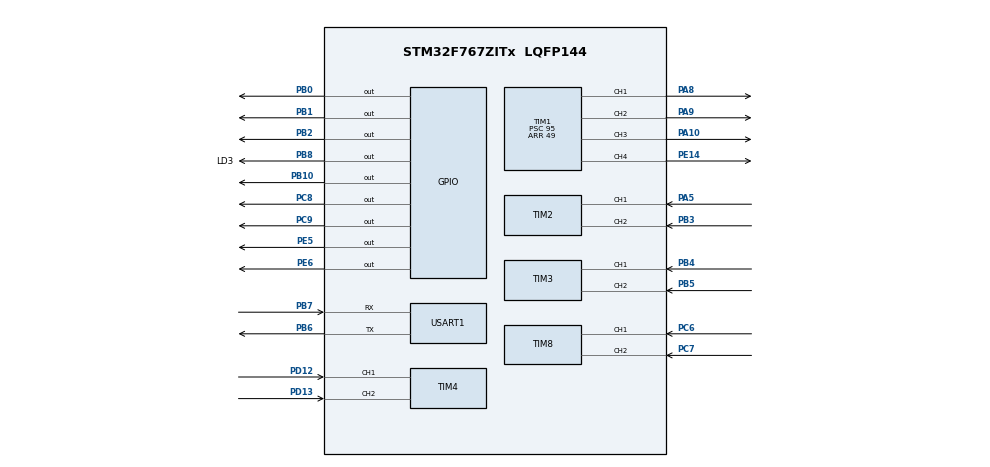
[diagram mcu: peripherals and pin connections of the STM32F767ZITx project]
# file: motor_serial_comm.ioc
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CORTEX_M7.default_mode_Activation=1
Mcu.Family=STM32F7
Mcu.Name=STM32F767ZITx
Mcu.Package=LQFP144
NVIC.PriorityGroup=NVIC_PRIORITYGROUP_4
NVIC.TIM6_DAC_IRQn=true\:0\:0\:false\:false\:true\:true\:true\:true
NVIC.USART1_IRQn=true\:0\:0\:false\:false\:true\:true\:true\:true
PA10.Signal=S_TIM1_CH3
PA5.Signal=S_TIM2_CH1_ETR
PA8.Signal=S_TIM1_CH1
PA9.Signal=S_TIM1_CH2
PB0.Signal=GPIO_Output
PB1.Signal=GPIO_Output
PB10.Signal=GPIO_Output
PB2.Signal=GPIO_Output
PB3.Signal=S_TIM2_CH2
PB4.Signal=S_TIM3_CH1
PB5.Signal=S_TIM3_CH2
PB6.Mode=Asynchronous
PB6.Signal=USART1_TX
PB7.Mode=Asynchronous
PB7.Signal=USART1_RX
PB8.GPIO_Label=LD3
PB8.Signal=GPIO_Output
PC6.Signal=S_TIM8_CH1
PC7.Signal=S_TIM8_CH2
PC8.Signal=GPIO_Output
PC9.Signal=GPIO_Output
PD12.Signal=S_TIM4_CH1
PD13.Signal=S_TIM4_CH2
PE14.Signal=S_TIM1_CH4
PE5.Signal=GPIO_Output
PE6.Signal=GPIO_Output
ProjectManager.HeapSize=0x200
ProjectManager.StackSize=0x400
ProjectManager.TargetToolchain=STM32CubeIDE
RCC.HSE_VALUE=25000000
RCC.HSI_VALUE=16000000
RCC.LSE_VALUE=32768
RCC.USBFreq_Value=96000000
RCC.VCOOutputFreq_Value=192000000
SH.S_TIM1_CH1.0=TIM1_CH1,PWM Generation1 CH1
SH.S_TIM1_CH2.0=TIM1_CH2,PWM Generation2 CH2
SH.S_TIM1_CH3.0=TIM1_CH3,PWM Generation3 CH3
SH.S_TIM1_CH4.0=TIM1_CH4,PWM Generation4 CH4
SH.S_TIM2_CH1_ETR.0=TIM2_CH1,Encoder_Interface
SH.S_TIM2_CH2.0=TIM2_CH2,Encoder_Interface
SH.S_TIM3_CH1.0=TIM3_CH1,Encoder_Interface
SH.S_TIM3_CH2.0=TIM3_CH2,Encoder_Interface
SH.S_TIM4_CH1.0=TIM4_CH1,Encoder_Interface
SH.S_TIM4_CH2.0=TIM4_CH2,Encoder_Interface
SH.S_TIM8_CH1.0=TIM8_CH1,Encoder_Interface
SH.S_TIM8_CH2.0=TIM8_CH2,Encoder_Interface
TIM1.Channel-PWM\ Generation1\ CH1=TIM_CHANNEL_1
TIM1.Channel-PWM\ Generation2\ CH2=TIM_CHANNEL_2
TIM1.Channel-PWM\ Generation3\ CH3=TIM_CHANNEL_3
TIM1.Channel-PWM\ Generation4\ CH4=TIM_CHANNEL_4
TIM1.Period=49
TIM1.Prescaler=95
TIM6.AutoReloadPreload=TIM_AUTORELOAD_PRELOAD_ENABLE
TIM6.Period=99
TIM6.Prescaler=9599
USART1.VirtualMode-Asynchronous=VM_ASYNC
VP_TIM1_VS_ClockSourceINT.Mode=Internal
VP_TIM6_VS_ClockSourceINT.Mode=Enable_Timer
board=custom

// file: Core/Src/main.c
/* USER CODE BEGIN Header */
/**
  ******************************************************************************
  * @file           : main.c
  * @brief          : Main program body
  ******************************************************************************
  * @attention
  *
  * Copyright (c) 2025 STMicroelectronics.
  * All rights reserved.
  *
  * This software is licensed under terms that can be found in the LICENSE file
  * in the root directory of this software component.
  * If no LICENSE file comes with this software, it is provided AS-IS.
  *
  ******************************************************************************
  */
/* USER CODE END Header */
#include "main.h"
/* USER CODE BEGIN Includes */
#include "string.h"
/* USER CODE END Includes */

/* USER CODE BEGIN PD */
#define pi 3.1415926535
#define dt 0.01
/* USER CODE END PD */

TIM_HandleTypeDef htim1;
TIM_HandleTypeDef htim2;
TIM_HandleTypeDef htim3;
TIM_HandleTypeDef htim4;
TIM_HandleTypeDef htim6;
TIM_HandleTypeDef htim8;

UART_HandleTypeDef huart1;

void SystemClock_Config(void);
static void MPU_Config(void);
static void MX_GPIO_Init(void);
static void MX_TIM1_Init(void);
static void MX_TIM2_Init(void);
static void MX_TIM3_Init(void);
static void MX_TIM4_Init(void);
static void MX_TIM6_Init(void);
static void MX_TIM8_Init(void);
static void MX_USART1_UART_Init(void);

/* USER CODE BEGIN 0 */
volatile float gearratio[4] = {126, 126, 139, 139};
volatile uint8_t PPR[4] = {1024, 1024, 16, 16};
volatile uint8_t rx_buf[18]; // 18바이트 (0xAA + 4 float + 0x55)
volatile uint8_t tx_buf[18];

volatile float received_vel[4]; // 목표 속도 저장용
volatile int data_ready = 0;

volatile int32_t enc_cnt[4];
volatile int32_t enc_prev[4];
volatile int32_t enc_dif[4];

volatile float error[4];
volatile float prev_error[4];
volatile float current_vel[4];
volatile float filtered_vel[4];
volatile float measured_vel[4];
volatile float integral[4];
volatile float derivative[4];
volatile float pwm_value[4];
volatile float Kp[4];
volatile float Ki[4];
volatile float Kd[4];

void HAL_UART_RxCpltCallback(UART_HandleTypeDef *huart) {
    if (huart == &huart1) {
        HAL_GPIO_TogglePin(GPIOB, LD3_Pin); // 수신될 때마다 토글
        if (rx_buf[0] == 0xAA && rx_buf[17] == 0x55) {
                    memcpy(received_vel, &rx_buf[1], sizeof(float) * 4);
                    data_ready = 1;
        }
        HAL_UART_Receive_IT(&huart1, rx_buf, 18);
    }
}
float Get_Speed(float gearratio[], uint8_t PPR[], int i, TIM_HandleTypeDef* htim){
	enc_cnt[i] = __HAL_TIM_GET_COUNTER(htim);
	enc_dif[i] = enc_cnt[i] - enc_prev[i];
	enc_prev[i] = enc_cnt[i];

    // over, underflow 보정
    if (enc_dif[i] > 32767) enc_dif[i] -= 65536;
    else if (enc_dif[i] < -32767) enc_dif[i] += 65536;

    current_vel[i] = (float)enc_dif[i] * (2 * pi) / (4 * PPR[i] * gearratio[i] * dt);

    return current_vel[i];
}
float LPF_Speed(float current_vel[], int i){
	float alpha = 0.1f;  // 필터 계수 (0.0 ~ 1.0)

	filtered_vel[i] = alpha * current_vel[i] + (1.0f - alpha) * filtered_vel[i];
	return filtered_vel[i];
}
void PID_control(int i){
	error[i] = received_vel[i] - filtered_vel[i]; // 오차 = 목표 - 현재

	integral[i] += error[i] * dt; // 적분 = 누적오차 * 시간
	  // PWM 값 제한 (0 ~ 1000)
	if (integral[i] > 1000) integral[i] = 1000;
	else if (integral[i] < -1000) integral[i] = -1000;

	derivative[i] = (error[i] - prev_error[i]) / dt; // 미분 = (오차-이전오차)/시간
	pwm_value[i] = (Kp[i] * error[i]) + (Ki[i] * integral[i]) + (Kd[i] * derivative[i]); // PID
	prev_error[i] = error[i]; // 현재 오차 값을 이전 값으로 저장 -> 다음 루프에서 사용
}

void HAL_TIM_PeriodElapsedCallback(TIM_HandleTypeDef *htim)
{
    if (htim == &htim6 && data_ready)
    {
        data_ready = 0;  // 플래그 리셋

		for (int i = 0; i < 4; i++)
        {
			switch (i) {
				case 0: Get_Speed(gearratio, PPR, i, &htim2); break;
				case 1: Get_Speed(gearratio, PPR, i, &htim3); break;
				case 2: Get_Speed(gearratio, PPR, i, &htim4); break;
				case 3: Get_Speed(gearratio, PPR, i, &htim8); break;
			}
			LPF_Speed(current_vel, i);
			PID_control(i);

			float pwm = fabsf(pwm_value[i]);
			if (pwm > 1000) pwm = 1000;

			switch (i) {
				case 0:
					if (pwm_value[i] >= 0) HAL_GPIO_WritePin(GPIOB, GPIO_PIN_0, GPIO_PIN_SET);
					else HAL_GPIO_WritePin(GPIOB, GPIO_PIN_0, GPIO_PIN_RESET);
					__HAL_TIM_SET_COMPARE(&htim1, TIM_CHANNEL_1, pwm);
					break;
				case 1:
					if (pwm_value[i] >= 0) HAL_GPIO_WritePin(GPIOB, GPIO_PIN_2, GPIO_PIN_SET);
					else HAL_GPIO_WritePin(GPIOB, GPIO_PIN_2, GPIO_PIN_RESET);
					__HAL_TIM_SET_COMPARE(&htim1, TIM_CHANNEL_2, pwm);
					break;
				case 2:
					if (pwm_value[i] >= 0) HAL_GPIO_WritePin(GPIOE, GPIO_PIN_5, GPIO_PIN_SET);
					else HAL_GPIO_WritePin(GPIOE, GPIO_PIN_5, GPIO_PIN_RESET);
					__HAL_TIM_SET_COMPARE(&htim1, TIM_CHANNEL_3, pwm);
					break;
				case 3:
					if (pwm_value[i] >= 0) HAL_GPIO_WritePin(GPIOC, GPIO_PIN_8, GPIO_PIN_SET);
					else HAL_GPIO_WritePin(GPIOC, GPIO_PIN_8, GPIO_PIN_RESET);
					__HAL_TIM_SET_COMPARE(&htim1, TIM_CHANNEL_4, pwm);
					break;
			}
        }
    }
}

/* USER CODE END 0 */

int main(void)
{

  /* MPU Configuration--------------------------------------------------------*/
  MPU_Config();

  /* MCU Configuration--------------------------------------------------------*/

  /* Reset of all peripherals, Initializes the Flash interface and the Systick. */
  HAL_Init();

  /* Configure the system clock */
  SystemClock_Config();

  /* Initialize all configured peripherals */
  MX_GPIO_Init();
  MX_TIM1_Init();
  MX_TIM2_Init();
  MX_TIM3_Init();
  MX_TIM4_Init();
  MX_TIM6_Init();
  MX_TIM8_Init();
  MX_USART1_UART_Init();
  /* USER CODE BEGIN 2 */
    HAL_UART_Receive_IT(&huart1, rx_buf, 18); // 최초 수신 시작

    HAL_TIM_Encoder_Start(&htim2, TIM_CHANNEL_ALL);
    HAL_TIM_Encoder_Start(&htim3, TIM_CHANNEL_ALL);
    HAL_TIM_Encoder_Start(&htim4, TIM_CHANNEL_ALL);
    HAL_TIM_Encoder_Start(&htim8, TIM_CHANNEL_ALL);

    HAL_TIM_PWM_Start(&htim1, TIM_CHANNEL_1);
    HAL_TIM_PWM_Start(&htim1, TIM_CHANNEL_2);
    HAL_TIM_PWM_Start(&htim1, TIM_CHANNEL_3);
    HAL_TIM_PWM_Start(&htim1, TIM_CHANNEL_4);

    HAL_TIM_Base_Start_IT(&htim6);

    HAL_GPIO_WritePin(GPIOB, GPIO_PIN_0, GPIO_PIN_SET);
    HAL_GPIO_WritePin(GPIOB, GPIO_PIN_1, GPIO_PIN_RESET);
    HAL_GPIO_WritePin(GPIOB, GPIO_PIN_2, GPIO_PIN_SET);
    HAL_GPIO_WritePin(GPIOB, GPIO_PIN_10, GPIO_PIN_RESET);
    HAL_GPIO_WritePin(GPIOE, GPIO_PIN_5, GPIO_PIN_SET);
    HAL_GPIO_WritePin(GPIOE, GPIO_PIN_6, GPIO_PIN_RESET);
    HAL_GPIO_WritePin(GPIOC, GPIO_PIN_8, GPIO_PIN_SET);
    HAL_GPIO_WritePin(GPIOC, GPIO_PIN_9, GPIO_PIN_RESET);

    enc_prev[0] = __HAL_TIM_GET_COUNTER(&htim2);
    enc_prev[1] = __HAL_TIM_GET_COUNTER(&htim3);
    enc_prev[2] = __HAL_TIM_GET_COUNTER(&htim4);
    enc_prev[3] = __HAL_TIM_GET_COUNTER(&htim8);
  /* USER CODE END 2 */

  /* Infinite loop */
    while (1)
    {
    }

}

void SystemClock_Config(void)
{
  RCC_OscInitTypeDef RCC_OscInitStruct = {0};
  RCC_ClkInitTypeDef RCC_ClkInitStruct = {0};

  /** Configure the main internal regulator output voltage
  */
  __HAL_RCC_PWR_CLK_ENABLE();
  __HAL_PWR_VOLTAGESCALING_CONFIG(PWR_REGULATOR_VOLTAGE_SCALE3);

  /** Initializes the RCC Oscillators according to the specified parameters
  * in the RCC_OscInitTypeDef structure.
  */
  RCC_OscInitStruct.OscillatorType = RCC_OSCILLATORTYPE_HSI;
  RCC_OscInitStruct.HSIState = RCC_HSI_ON;
  RCC_OscInitStruct.HSICalibrationValue = RCC_HSICALIBRATION_DEFAULT;
  RCC_OscInitStruct.PLL.PLLState = RCC_PLL_NONE;
  if (HAL_RCC_OscConfig(&RCC_OscInitStruct) != HAL_OK)
  {
    Error_Handler();
  }

  /** Initializes the CPU, AHB and APB buses clocks
  */
  RCC_ClkInitStruct.ClockType = RCC_CLOCKTYPE_HCLK|RCC_CLOCKTYPE_SYSCLK
                              |RCC_CLOCKTYPE_PCLK1|RCC_CLOCKTYPE_PCLK2;
  RCC_ClkInitStruct.SYSCLKSource = RCC_SYSCLKSOURCE_HSI;
  RCC_ClkInitStruct.AHBCLKDivider = RCC_SYSCLK_DIV1;
  RCC_ClkInitStruct.APB1CLKDivider = RCC_HCLK_DIV1;
  RCC_ClkInitStruct.APB2CLKDivider = RCC_HCLK_DIV1;

  if (HAL_RCC_ClockConfig(&RCC_ClkInitStruct, FLASH_LATENCY_0) != HAL_OK)
  {
    Error_Handler();
  }
}

static void MX_TIM1_Init(void)
{

  TIM_ClockConfigTypeDef sClockSourceConfig = {0};
  TIM_MasterConfigTypeDef sMasterConfig = {0};
  TIM_OC_InitTypeDef sConfigOC = {0};
  TIM_BreakDeadTimeConfigTypeDef sBreakDeadTimeConfig = {0};

  htim1.Instance = TIM1;
  htim1.Init.Prescaler = 95;
  htim1.Init.CounterMode = TIM_COUNTERMODE_UP;
  htim1.Init.Period = 49;
  htim1.Init.ClockDivision = TIM_CLOCKDIVISION_DIV1;
  htim1.Init.RepetitionCounter = 0;
  htim1.Init.AutoReloadPreload = TIM_AUTORELOAD_PRELOAD_DISABLE;
  if (HAL_TIM_Base_Init(&htim1) != HAL_OK)
  {
    Error_Handler();
  }
  sClockSourceConfig.ClockSource = TIM_CLOCKSOURCE_INTERNAL;
  if (HAL_TIM_ConfigClockSource(&htim1, &sClockSourceConfig) != HAL_OK)
  {
    Error_Handler();
  }
  if (HAL_TIM_PWM_Init(&htim1) != HAL_OK)
  {
    Error_Handler();
  }
  sMasterConfig.MasterOutputTrigger = TIM_TRGO_RESET;
  sMasterConfig.MasterOutputTrigger2 = TIM_TRGO2_RESET;
  sMasterConfig.MasterSlaveMode = TIM_MASTERSLAVEMODE_DISABLE;
  if (HAL_TIMEx_MasterConfigSynchronization(&htim1, &sMasterConfig) != HAL_OK)
  {
    Error_Handler();
  }
  sConfigOC.OCMode = TIM_OCMODE_PWM1;
  sConfigOC.Pulse = 0;
  sConfigOC.OCPolarity = TIM_OCPOLARITY_HIGH;
  sConfigOC.OCNPolarity = TIM_OCNPOLARITY_HIGH;
  sConfigOC.OCFastMode = TIM_OCFAST_DISABLE;
  sConfigOC.OCIdleState = TIM_OCIDLESTATE_RESET;
  sConfigOC.OCNIdleState = TIM_OCNIDLESTATE_RESET;
  if (HAL_TIM_PWM_ConfigChannel(&htim1, &sConfigOC, TIM_CHANNEL_1) != HAL_OK)
  {
    Error_Handler();
  }
  if (HAL_TIM_PWM_ConfigChannel(&htim1, &sConfigOC, TIM_CHANNEL_2) != HAL_OK)
  {
    Error_Handler();
  }
  if (HAL_TIM_PWM_ConfigChannel(&htim1, &sConfigOC, TIM_CHANNEL_3) != HAL_OK)
  {
    Error_Handler();
  }
  if (HAL_TIM_PWM_ConfigChannel(&htim1, &sConfigOC, TIM_CHANNEL_4) != HAL_OK)
  {
    Error_Handler();
  }
  sBreakDeadTimeConfig.OffStateRunMode = TIM_OSSR_DISABLE;
  sBreakDeadTimeConfig.OffStateIDLEMode = TIM_OSSI_DISABLE;
  sBreakDeadTimeConfig.LockLevel = TIM_LOCKLEVEL_OFF;
  sBreakDeadTimeConfig.DeadTime = 0;
  sBreakDeadTimeConfig.BreakState = TIM_BREAK_DISABLE;
  sBreakDeadTimeConfig.BreakPolarity = TIM_BREAKPOLARITY_HIGH;
  sBreakDeadTimeConfig.BreakFilter = 0;
  sBreakDeadTimeConfig.Break2State = TIM_BREAK2_DISABLE;
  sBreakDeadTimeConfig.Break2Polarity = TIM_BREAK2POLARITY_HIGH;
  sBreakDeadTimeConfig.Break2Filter = 0;
  sBreakDeadTimeConfig.AutomaticOutput = TIM_AUTOMATICOUTPUT_DISABLE;
  if (HAL_TIMEx_ConfigBreakDeadTime(&htim1, &sBreakDeadTimeConfig) != HAL_OK)
  {
    Error_Handler();
  }
  HAL_TIM_MspPostInit(&htim1);

}

static void MX_TIM2_Init(void)
{

  TIM_Encoder_InitTypeDef sConfig = {0};
  TIM_MasterConfigTypeDef sMasterConfig = {0};

  htim2.Instance = TIM2;
  htim2.Init.Prescaler = 0;
  htim2.Init.CounterMode = TIM_COUNTERMODE_UP;
  htim2.Init.Period = 4294967295;
  htim2.Init.ClockDivision = TIM_CLOCKDIVISION_DIV1;
  htim2.Init.AutoReloadPreload = TIM_AUTORELOAD_PRELOAD_DISABLE;
  sConfig.EncoderMode = TIM_ENCODERMODE_TI1;
  sConfig.IC1Polarity = TIM_ICPOLARITY_RISING;
  sConfig.IC1Selection = TIM_ICSELECTION_DIRECTTI;
  sConfig.IC1Prescaler = TIM_ICPSC_DIV1;
  sConfig.IC1Filter = 0;
  sConfig.IC2Polarity = TIM_ICPOLARITY_RISING;
  sConfig.IC2Selection = TIM_ICSELECTION_DIRECTTI;
  sConfig.IC2Prescaler = TIM_ICPSC_DIV1;
  sConfig.IC2Filter = 0;
  if (HAL_TIM_Encoder_Init(&htim2, &sConfig) != HAL_OK)
  {
    Error_Handler();
  }
  sMasterConfig.MasterOutputTrigger = TIM_TRGO_RESET;
  sMasterConfig.MasterSlaveMode = TIM_MASTERSLAVEMODE_DISABLE;
  if (HAL_TIMEx_MasterConfigSynchronization(&htim2, &sMasterConfig) != HAL_OK)
  {
    Error_Handler();
  }

}

static void MX_TIM3_Init(void)
{

  TIM_Encoder_InitTypeDef sConfig = {0};
  TIM_MasterConfigTypeDef sMasterConfig = {0};

  htim3.Instance = TIM3;
  htim3.Init.Prescaler = 0;
  htim3.Init.CounterMode = TIM_COUNTERMODE_UP;
  htim3.Init.Period = 65535;
  htim3.Init.ClockDivision = TIM_CLOCKDIVISION_DIV1;
  htim3.Init.AutoReloadPreload = TIM_AUTORELOAD_PRELOAD_DISABLE;
  sConfig.EncoderMode = TIM_ENCODERMODE_TI1;
  sConfig.IC1Polarity = TIM_ICPOLARITY_RISING;
  sConfig.IC1Selection = TIM_ICSELECTION_DIRECTTI;
  sConfig.IC1Prescaler = TIM_ICPSC_DIV1;
  sConfig.IC1Filter = 0;
  sConfig.IC2Polarity = TIM_ICPOLARITY_RISING;
  sConfig.IC2Selection = TIM_ICSELECTION_DIRECTTI;
  sConfig.IC2Prescaler = TIM_ICPSC_DIV1;
  sConfig.IC2Filter = 0;
  if (HAL_TIM_Encoder_Init(&htim3, &sConfig) != HAL_OK)
  {
    Error_Handler();
  }
  sMasterConfig.MasterOutputTrigger = TIM_TRGO_RESET;
  sMasterConfig.MasterSlaveMode = TIM_MASTERSLAVEMODE_DISABLE;
  if (HAL_TIMEx_MasterConfigSynchronization(&htim3, &sMasterConfig) != HAL_OK)
  {
    Error_Handler();
  }

}

static void MX_TIM4_Init(void)
{

  TIM_Encoder_InitTypeDef sConfig = {0};
  TIM_MasterConfigTypeDef sMasterConfig = {0};

  htim4.Instance = TIM4;
  htim4.Init.Prescaler = 0;
  htim4.Init.CounterMode = TIM_COUNTERMODE_UP;
  htim4.Init.Period = 65535;
  htim4.Init.ClockDivision = TIM_CLOCKDIVISION_DIV1;
  htim4.Init.AutoReloadPreload = TIM_AUTORELOAD_PRELOAD_DISABLE;
  sConfig.EncoderMode = TIM_ENCODERMODE_TI1;
  sConfig.IC1Polarity = TIM_ICPOLARITY_RISING;
  sConfig.IC1Selection = TIM_ICSELECTION_DIRECTTI;
  sConfig.IC1Prescaler = TIM_ICPSC_DIV1;
  sConfig.IC1Filter = 0;
  sConfig.IC2Polarity = TIM_ICPOLARITY_RISING;
  sConfig.IC2Selection = TIM_ICSELECTION_DIRECTTI;
  sConfig.IC2Prescaler = TIM_ICPSC_DIV1;
  sConfig.IC2Filter = 0;
  if (HAL_TIM_Encoder_Init(&htim4, &sConfig) != HAL_OK)
  {
    Error_Handler();
  }
  sMasterConfig.MasterOutputTrigger = TIM_TRGO_RESET;
  sMasterConfig.MasterSlaveMode = TIM_MASTERSLAVEMODE_DISABLE;
  if (HAL_TIMEx_MasterConfigSynchronization(&htim4, &sMasterConfig) != HAL_OK)
  {
    Error_Handler();
  }

}

static void MX_TIM6_Init(void)
{

  TIM_MasterConfigTypeDef sMasterConfig = {0};

  htim6.Instance = TIM6;
  htim6.Init.Prescaler = 9599;
  htim6.Init.CounterMode = TIM_COUNTERMODE_UP;
  htim6.Init.Period = 99;
  htim6.Init.AutoReloadPreload = TIM_AUTORELOAD_PRELOAD_ENABLE;
  if (HAL_TIM_Base_Init(&htim6) != HAL_OK)
  {
    Error_Handler();
  }
  sMasterConfig.MasterOutputTrigger = TIM_TRGO_RESET;
  sMasterConfig.MasterSlaveMode = TIM_MASTERSLAVEMODE_DISABLE;
  if (HAL_TIMEx_MasterConfigSynchronization(&htim6, &sMasterConfig) != HAL_OK)
  {
    Error_Handler();
  }

}

static void MX_TIM8_Init(void)
{

  TIM_Encoder_InitTypeDef sConfig = {0};
  TIM_MasterConfigTypeDef sMasterConfig = {0};

  htim8.Instance = TIM8;
  htim8.Init.Prescaler = 0;
  htim8.Init.CounterMode = TIM_COUNTERMODE_UP;
  htim8.Init.Period = 65535;
  htim8.Init.ClockDivision = TIM_CLOCKDIVISION_DIV1;
  htim8.Init.RepetitionCounter = 0;
  htim8.Init.AutoReloadPreload = TIM_AUTORELOAD_PRELOAD_DISABLE;
  sConfig.EncoderMode = TIM_ENCODERMODE_TI1;
  sConfig.IC1Polarity = TIM_ICPOLARITY_RISING;
  sConfig.IC1Selection = TIM_ICSELECTION_DIRECTTI;
  sConfig.IC1Prescaler = TIM_ICPSC_DIV1;
  sConfig.IC1Filter = 0;
  sConfig.IC2Polarity = TIM_ICPOLARITY_RISING;
  sConfig.IC2Selection = TIM_ICSELECTION_DIRECTTI;
  sConfig.IC2Prescaler = TIM_ICPSC_DIV1;
  sConfig.IC2Filter = 0;
  if (HAL_TIM_Encoder_Init(&htim8, &sConfig) != HAL_OK)
  {
    Error_Handler();
  }
  sMasterConfig.MasterOutputTrigger = TIM_TRGO_RESET;
  sMasterConfig.MasterOutputTrigger2 = TIM_TRGO2_RESET;
  sMasterConfig.MasterSlaveMode = TIM_MASTERSLAVEMODE_DISABLE;
  if (HAL_TIMEx_MasterConfigSynchronization(&htim8, &sMasterConfig) != HAL_OK)
  {
    Error_Handler();
  }

}

static void MX_USART1_UART_Init(void)
{

  huart1.Instance = USART1;
  huart1.Init.BaudRate = 115200;
  huart1.Init.WordLength = UART_WORDLENGTH_8B;
  huart1.Init.StopBits = UART_STOPBITS_1;
  huart1.Init.Parity = UART_PARITY_NONE;
  huart1.Init.Mode = UART_MODE_TX_RX;
  huart1.Init.HwFlowCtl = UART_HWCONTROL_NONE;
  huart1.Init.OverSampling = UART_OVERSAMPLING_16;
  huart1.Init.OneBitSampling = UART_ONE_BIT_SAMPLE_DISABLE;
  huart1.AdvancedInit.AdvFeatureInit = UART_ADVFEATURE_NO_INIT;
  if (HAL_UART_Init(&huart1) != HAL_OK)
  {
    Error_Handler();
  }

}

static void MX_GPIO_Init(void)
{
  GPIO_InitTypeDef GPIO_InitStruct = {0};

  /* GPIO Ports Clock Enable */
  __HAL_RCC_GPIOE_CLK_ENABLE();
  __HAL_RCC_GPIOA_CLK_ENABLE();
  __HAL_RCC_GPIOB_CLK_ENABLE();
  __HAL_RCC_GPIOD_CLK_ENABLE();
  __HAL_RCC_GPIOC_CLK_ENABLE();

  /*Configure GPIO pin Output Level */
  HAL_GPIO_WritePin(GPIOE, GPIO_PIN_5|GPIO_PIN_6, GPIO_PIN_RESET);

  /*Configure GPIO pin Output Level */
  HAL_GPIO_WritePin(GPIOB, GPIO_PIN_0|GPIO_PIN_1|GPIO_PIN_2|GPIO_PIN_10
                          |LD3_Pin, GPIO_PIN_RESET);

  /*Configure GPIO pin Output Level */
  HAL_GPIO_WritePin(GPIOC, GPIO_PIN_8|GPIO_PIN_9, GPIO_PIN_RESET);

  /*Configure GPIO pins : PE5 PE6 */
  GPIO_InitStruct.Pin = GPIO_PIN_5|GPIO_PIN_6;
  GPIO_InitStruct.Mode = GPIO_MODE_OUTPUT_PP;
  GPIO_InitStruct.Pull = GPIO_NOPULL;
  GPIO_InitStruct.Speed = GPIO_SPEED_FREQ_LOW;
  HAL_GPIO_Init(GPIOE, &GPIO_InitStruct);

  /*Configure GPIO pins : PB0 PB1 PB2 PB10
                           LD3_Pin */
  GPIO_InitStruct.Pin = GPIO_PIN_0|GPIO_PIN_1|GPIO_PIN_2|GPIO_PIN_10
                          |LD3_Pin;
  GPIO_InitStruct.Mode = GPIO_MODE_OUTPUT_PP;
  GPIO_InitStruct.Pull = GPIO_NOPULL;
  GPIO_InitStruct.Speed = GPIO_SPEED_FREQ_LOW;
  HAL_GPIO_Init(GPIOB, &GPIO_InitStruct);

  /*Configure GPIO pins : PC8 PC9 */
  GPIO_InitStruct.Pin = GPIO_PIN_8|GPIO_PIN_9;
  GPIO_InitStruct.Mode = GPIO_MODE_OUTPUT_PP;
  GPIO_InitStruct.Pull = GPIO_NOPULL;
  GPIO_InitStruct.Speed = GPIO_SPEED_FREQ_LOW;
  HAL_GPIO_Init(GPIOC, &GPIO_InitStruct);

}

 /* MPU Configuration */

void MPU_Config(void)
{
  MPU_Region_InitTypeDef MPU_InitStruct = {0};

  /* Disables the MPU */
  HAL_MPU_Disable();

  /** Initializes and configures the Region and the memory to be protected
  */
  MPU_InitStruct.Enable = MPU_REGION_ENABLE;
  MPU_InitStruct.Number = MPU_REGION_NUMBER0;
  MPU_InitStruct.BaseAddress = 0x0;
  MPU_InitStruct.Size = MPU_REGION_SIZE_4GB;
  MPU_InitStruct.SubRegionDisable = 0x87;
  MPU_InitStruct.TypeExtField = MPU_TEX_LEVEL0;
  MPU_InitStruct.AccessPermission = MPU_REGION_NO_ACCESS;
  MPU_InitStruct.DisableExec = MPU_INSTRUCTION_ACCESS_DISABLE;
  MPU_InitStruct.IsShareable = MPU_ACCESS_SHAREABLE;
  MPU_InitStruct.IsCacheable = MPU_ACCESS_NOT_CACHEABLE;
  MPU_InitStruct.IsBufferable = MPU_ACCESS_NOT_BUFFERABLE;

  HAL_MPU_ConfigRegion(&MPU_InitStruct);
  /* Enables the MPU */
  HAL_MPU_Enable(MPU_PRIVILEGED_DEFAULT);

}

void Error_Handler(void)
{
  __disable_irq();
  while (1)
  {
  }
}
